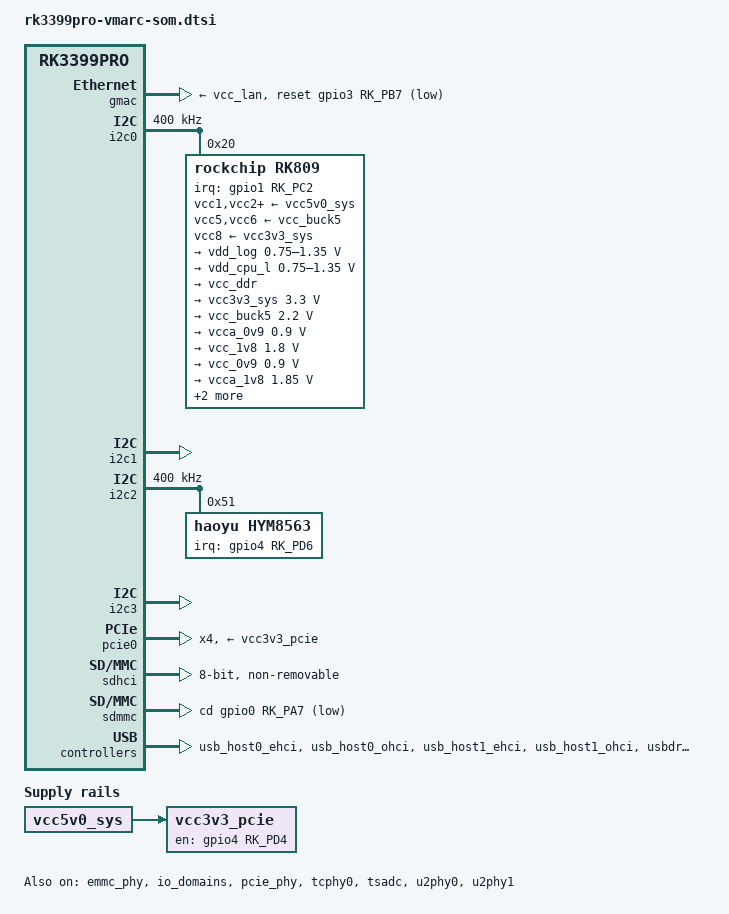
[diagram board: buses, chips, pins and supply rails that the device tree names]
// SPDX-License-Identifier: (GPL-2.0+ OR MIT)
/*
 * Copyright (c) 2019 Fuzhou Rockchip Electronics Co., Ltd
 * Copyright (c) 2019 Vamrs Limited
 * Copyright (c) 2019 Amarula Solutions(India)
 */

#include <dt-bindings/gpio/gpio.h>
#include <dt-bindings/pinctrl/rockchip.h>
#include <dt-bindings/pwm/pwm.h>

/ {
	compatible = "vamrs,rk3399pro-vmarc-som", "rockchip,rk3399pro";

	aliases {
		ethernet0 = &gmac;
		mmc0 = &sdhci;
		mmc1 = &sdmmc;
	};

	vcc3v3_pcie: regulator-vcc-pcie {
		compatible = "regulator-fixed";
		enable-active-high;
		gpio = <&gpio4 RK_PD4 GPIO_ACTIVE_HIGH>;
		pinctrl-names = "default";
		pinctrl-0 = <&pcie_pwr>;
		regulator-name = "vcc3v3_pcie";
		regulator-always-on;
		regulator-boot-on;
		vin-supply = <&vcc5v0_sys>;
	};
};

&cpu_l0 {
	cpu-supply = <&vdd_cpu_l>;
};

&cpu_l1 {
	cpu-supply = <&vdd_cpu_l>;
};

&cpu_l2 {
	cpu-supply = <&vdd_cpu_l>;
};

&cpu_l3 {
	cpu-supply = <&vdd_cpu_l>;
};

&emmc_phy {
	status = "okay";
};

&gmac {
	assigned-clocks = <&cru SCLK_RMII_SRC>;
	phy-supply = <&vcc_lan>;
	snps,reset-gpio = <&gpio3 RK_PB7 GPIO_ACTIVE_LOW>;
};

&hdmi {
	ddc-i2c-bus = <&i2c3>;
	pinctrl-names = "default";
	pinctrl-0 = <&hdmi_cec>;
};

&i2c0 {
	clock-frequency = <400000>;
	i2c-scl-falling-time-ns = <30>;
	i2c-scl-rising-time-ns = <180>;
	status = "okay";

	rk809: pmic@20 {
		compatible = "rockchip,rk809";
		reg = <0x20>;
		interrupt-parent = <&gpio1>;
		interrupts = <RK_PC2 IRQ_TYPE_LEVEL_LOW>;
		#clock-cells = <1>;
		clock-output-names = "rk808-clkout1", "rk808-clkout2";
		pinctrl-names = "default";
		pinctrl-0 = <&pmic_int_l>;
		system-power-controller;
		wakeup-source;

		vcc1-supply = <&vcc5v0_sys>;
		vcc2-supply = <&vcc5v0_sys>;
		vcc3-supply = <&vcc5v0_sys>;
		vcc4-supply = <&vcc5v0_sys>;
		vcc5-supply = <&vcc_buck5>;
		vcc6-supply = <&vcc_buck5>;
		vcc7-supply = <&vcc5v0_sys>;
		vcc8-supply = <&vcc3v3_sys>;
		vcc9-supply = <&vcc5v0_sys>;

		regulators {
			vdd_log: DCDC_REG1 {
				regulator-name = "vdd_log";
				regulator-always-on;
				regulator-boot-on;
				regulator-min-microvolt = <750000>;
				regulator-max-microvolt = <1350000>;
				regulator-initial-mode = <0x2>;
				regulator-state-mem {
					regulator-off-in-suspend;
					regulator-suspend-microvolt = <900000>;
				};
			};

			vdd_cpu_l: DCDC_REG2 {
				regulator-name = "vdd_cpu_l";
				regulator-always-on;
				regulator-boot-on;
				regulator-min-microvolt = <750000>;
				regulator-max-microvolt = <1350000>;
				regulator-ramp-delay = <6001>;
				regulator-initial-mode = <0x2>;
				regulator-state-mem {
					regulator-off-in-suspend;
				};
			};

			vcc_ddr: DCDC_REG3 {
				regulator-name = "vcc_ddr";
				regulator-always-on;
				regulator-boot-on;
				regulator-initial-mode = <0x2>;
				regulator-state-mem {
					regulator-on-in-suspend;
				};
			};

			vcc3v3_sys: DCDC_REG4 {
				regulator-name = "vcc3v3_sys";
				regulator-always-on;
				regulator-boot-on;
				regulator-min-microvolt = <3300000>;
				regulator-max-microvolt = <3300000>;
				regulator-initial-mode = <0x2>;
				regulator-state-mem {
					regulator-on-in-suspend;
					regulator-suspend-microvolt = <3300000>;
				};
			};

			vcc_buck5: DCDC_REG5 {
				regulator-name = "vcc_buck5";
				regulator-always-on;
				regulator-boot-on;
				regulator-min-microvolt = <2200000>;
				regulator-max-microvolt = <2200000>;
				regulator-state-mem {
					regulator-on-in-suspend;
					regulator-suspend-microvolt = <2200000>;
				};
			};

			vcca_0v9: LDO_REG1 {
				regulator-name = "vcca_0v9";
				regulator-always-on;
				regulator-boot-on;
				regulator-min-microvolt = <900000>;
				regulator-max-microvolt = <900000>;
				regulator-state-mem {
					regulator-on-in-suspend;
					regulator-suspend-microvolt = <900000>;
				};
			};

			vcc_1v8: LDO_REG2 {
				regulator-name = "vcc_1v8";
				regulator-always-on;
				regulator-boot-on;
				regulator-min-microvolt = <1800000>;
				regulator-max-microvolt = <1800000>;
				regulator-state-mem {
					regulator-on-in-suspend;
					regulator-suspend-microvolt = <1800000>;
				};
			};

			vcc_0v9: LDO_REG3 {
				regulator-name = "vcc_0v9";
				regulator-always-on;
				regulator-boot-on;
				regulator-min-microvolt = <900000>;
				regulator-max-microvolt = <900000>;
				regulator-state-mem {
					regulator-on-in-suspend;
					regulator-suspend-microvolt = <900000>;
				};
			};

			vcca_1v8: LDO_REG4 {
				regulator-name = "vcca_1v8";
				regulator-always-on;
				regulator-boot-on;
				regulator-min-microvolt = <1850000>;
				regulator-max-microvolt = <1850000>;
				regulator-state-mem {
					regulator-on-in-suspend;
					regulator-suspend-microvolt = <1850000>;
				};
			};

			/*
			 * As per BSP, but schematic not showing any regulator
			 * pin for LD05.
			 */
			vdd1v5_dvp: LDO_REG5 {
				regulator-name = "vdd1v5_dvp";
				regulator-always-on;
				regulator-boot-on;
				regulator-min-microvolt = <1500000>;
				regulator-max-microvolt = <1500000>;
				regulator-state-mem {
					regulator-off-in-suspend;
				};
			};

			vcc_1v5: LDO_REG6 {
				regulator-name = "vcc_1v5";
				regulator-always-on;
				regulator-boot-on;
				regulator-min-microvolt = <1500000>;
				regulator-max-microvolt = <1500000>;
				regulator-state-mem {
					regulator-off-in-suspend;
				};
			};

			vccio_3v0: LDO_REG7 {
				regulator-name = "vccio_3v0";
				regulator-always-on;
				regulator-boot-on;
				regulator-min-microvolt = <3000000>;
				regulator-max-microvolt = <3000000>;
				regulator-state-mem {
					regulator-off-in-suspend;
				};
			};

			vccio_sd: LDO_REG8 {
				regulator-name = "vccio_sd";
				regulator-always-on;
				regulator-boot-on;
				regulator-min-microvolt = <1800000>;
				regulator-max-microvolt = <3300000>;
				regulator-state-mem {
					regulator-off-in-suspend;
				};
			};

			/*
			 * As per BSP, but schematic not showing any regulator
			 * pin for LD09.
			 */
			vcc_sd: LDO_REG9 {
				regulator-name = "vcc_sd";
				regulator-always-on;
				regulator-boot-on;
				regulator-min-microvolt = <3300000>;
				regulator-max-microvolt = <3300000>;
				regulator-state-mem {
					regulator-off-in-suspend;
				};
			};

			vcc5v0_usb2: SWITCH_REG1 {
				regulator-name = "vcc5v0_usb2";
				regulator-min-microvolt = <5000000>;
				regulator-max-microvolt = <5000000>;
				regulator-state-mem {
					regulator-on-in-suspend;
					regulator-suspend-microvolt = <5000000>;
				};
			};

			vccio_3v3: vcc_lan: SWITCH_REG2 {
				regulator-name = "vccio_3v3";
				regulator-always-on;
				regulator-boot-on;
				regulator-min-microvolt = <3300000>;
				regulator-max-microvolt = <3300000>;
				regulator-state-mem {
					regulator-off-in-suspend;
				};
			};
		};
	};
};

&i2c1 {
	i2c-scl-falling-time-ns = <30>;
	i2c-scl-rising-time-ns = <140>;
	status = "okay";
};

&i2c2 {
	clock-frequency = <400000>;
	status = "okay";

	hym8563: rtc@51 {
		compatible = "haoyu,hym8563";
		reg = <0x51>;
		#clock-cells = <0>;
		clock-output-names = "hym8563";
		pinctrl-names = "default";
		pinctrl-0 = <&hym8563_int>;
		interrupt-parent = <&gpio4>;
		interrupts = <RK_PD6 IRQ_TYPE_LEVEL_LOW>;
	};
};

&i2c3 {
	i2c-scl-rising-time-ns = <450>;
	i2c-scl-falling-time-ns = <15>;
	status = "okay";
};

&io_domains {
	status = "okay";
	bt656-supply = <&vcca_1v8>;
	gpio1830-supply = <&vccio_3v0>;
	sdmmc-supply = <&vccio_sd>;
};

&pcie_phy {
	status = "okay";
};

&pcie0 {
	ep-gpios = <&gpio0 RK_PB4 GPIO_ACTIVE_HIGH>;
	num-lanes = <4>;
	pinctrl-0 = <&pcie_clkreqnb_cpm>;
	pinctrl-names = "default";
	vpcie0v9-supply = <&vcca_0v9>;	/* VCC_0V9_S0 */
	vpcie1v8-supply = <&vcca_1v8>;	/* VCC_1V8_S0 */
	vpcie3v3-supply = <&vcc3v3_pcie>;
	status = "okay";
};

&pinctrl {
	hym8563 {
		hym8563_int: hym8563-int {
			rockchip,pins = <4 RK_PD6 0 &pcfg_pull_up>;
		};
	};

	pcie {
		pcie_pwr: pcie-pwr {
			rockchip,pins = <4 RK_PD4 RK_FUNC_GPIO &pcfg_pull_up>;
		};
	};

	pmic {
		pmic_int_l: pmic-int-l {
			rockchip,pins = <1 RK_PC2 0 &pcfg_pull_up>;
		};
	};

	sdio-pwrseq {
		wifi_enable_h: wifi-enable-h {
			rockchip,pins = <2 RK_PD3 RK_FUNC_GPIO &pcfg_pull_none>;
		};
	};

	vbus_host {
		usb1_en_oc: usb1-en-oc {
			rockchip,pins = <4 RK_PD1 RK_FUNC_GPIO &pcfg_pull_up>;
		};
	};

	vbus_typec {
		usb0_en_oc: usb0-en-oc {
			rockchip,pins = <4 RK_PD2 RK_FUNC_GPIO &pcfg_pull_up>;
		};
	};
};

&pmu_io_domains {
	status = "okay";
	pmu1830-supply = <&vcc_1v8>;
};

&sdio_pwrseq {
	/*
	 * On the module itself this is one of these (depending
	 * on the actual card populated):
	 * - SDIO_RESET_L_WL_REG_ON
	 * - PDN (power down when low)
	 */
	reset-gpios = <&gpio2 RK_PD3 GPIO_ACTIVE_LOW>;
};

&sdhci {
	bus-width = <8>;
	mmc-hs400-1_8v;
	mmc-hs400-enhanced-strobe;
	non-removable;
	status = "okay";
};

&sdmmc {
	cd-gpios = <&gpio0 RK_PA7 GPIO_ACTIVE_LOW>;
	max-frequency = <150000000>;
};

&tcphy0 {
	status = "okay";
};

&tsadc {
	rockchip,hw-tshut-mode = <1>;
	rockchip,hw-tshut-polarity = <1>;
	status = "okay";
};

&u2phy0 {
	status = "okay";

	u2phy0_otg: otg-port {
		phy-supply = <&vbus_typec>;
		status = "okay";
	};

	u2phy0_host: host-port {
		phy-supply = <&vbus_host>;
		status = "okay";
	};
};


&u2phy1 {
	status = "okay";

	u2phy1_host: host-port {
		phy-supply = <&vbus_host>;
		status = "okay";
	};
};

&usb_host0_ehci {
	status = "okay";
};

&usb_host0_ohci {
	status = "okay";
};

&usb_host1_ehci {
	status = "okay";
};

&usb_host1_ohci {
	status = "okay";
};

&usbdrd3_0 {
	status = "okay";
};

&usbdrd_dwc3_0 {
	status = "okay";
};

&vbus_host {
	enable-active-high;
	gpio = <&gpio4 RK_PD1 GPIO_ACTIVE_HIGH>; /* USB1_EN_OC# */
	pinctrl-names = "default";
	pinctrl-0 = <&usb1_en_oc>;
};

&vbus_typec {
	enable-active-high;
	gpio = <&gpio4 RK_PD2 GPIO_ACTIVE_HIGH>; /* USB0_EN_OC# */
	pinctrl-names = "default";
	pinctrl-0 = <&usb0_en_oc>;
};
